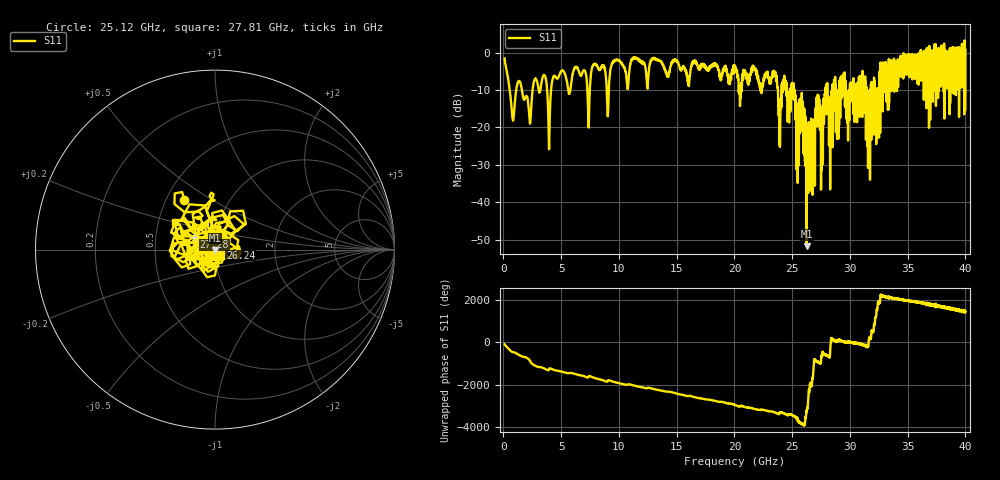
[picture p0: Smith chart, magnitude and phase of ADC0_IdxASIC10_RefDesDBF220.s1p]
! ADC = 0
! IdxASIC = 10
! RefDesDBF = 220
# Hz S DB R 50
! freq  S11(dB)  S11(deg)
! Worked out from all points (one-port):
!   3991 points, 100 MHz to 40 GHz, reference 50 ohm
!   lowest |S11| = -51.7 dB at 26.25 GHz (marker M1), VSWR 1.01, Z = 50.2 - j0.181 ohm
!   |S11| at or under -10 dB: 543 MHz to 1.101 GHz (557.6 MHz wide, 67.9 % of centre); 1.6 GHz to 2.519 GHz (919.2 MHz wide, 44.6 % of centre); 25.22 GHz to 27.89 GHz (2.671 GHz wide, 10.1 % of centre)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
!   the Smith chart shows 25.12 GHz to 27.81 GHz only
!   S11 on the Smith chart (normalised r, x): 25.12 GHz: 0.62, +0.38; 26.24 GHz: 1.06, +0.02; 27.28 GHz: 0.78, +0.11; 27.81 GHz: 0.61, +0.20
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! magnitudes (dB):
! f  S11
! 100 MHz  -1.6
! 820 MHz  -18.0
! 1.3 GHz  -7.7
! 2.27 GHz  -18.2
! 3.51 GHz  -6.0
! 3.97 GHz  -23.0
! 5.09 GHz  -4.8
! 7.36 GHz  -18.9
! 7.83 GHz  -3.2
! 9.04 GHz  -16.8
! 10.08 GHz  -2.4
! 15.07 GHz  -2.6
! 20.05 GHz  -4.2
! 23.46 GHz  -5.3
! 23.89 GHz  -24.6
! 25.04 GHz  -8.4
! 25.12 GHz  -9.8
! 26.24 GHz  -30.1
! 26.25 GHz  -51.7
! 26.78 GHz  -28.1
! 27.28 GHz  -17.3
! 27.57 GHz  -20.5
! 27.81 GHz  -11.4
! 30.03 GHz  -13.3
! 31.66 GHz  -14.9
! 35.02 GHz  -3.5
! 39.75 GHz  -0.1
! 40 GHz  -15.2
